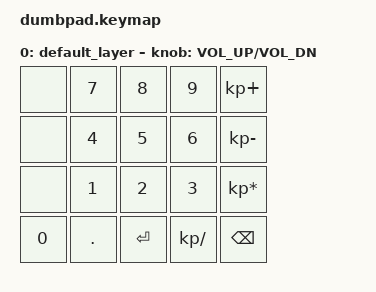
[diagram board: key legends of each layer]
#include <behaviors.dtsi>
#include <dt-bindings/zmk/keys.h>
#include <dt-bindings/zmk/bt.h>

/ {
    keymap {
        compatible = "zmk,keymap";

        default_layer {
            bindings = <
                &none  &kp NUM_7 &kp NUM_8 &kp NUM_9 &kp KP_PLUS
                &none  &kp NUM_4 &kp NUM_5 &kp NUM_6 &kp KP_MINUS
                &none  &kp NUM_1 &kp NUM_2 &kp NUM_3 &kp KP_MULTIPLY
                &kp NUM_0 &kp DOT  &kp ENTER &kp KP_DIVIDE &kp BSPC
            >;
            sensor-bindings = <&inc_dec_kp C_VOL_UP C_VOL_DN>;
        };
    };
};
